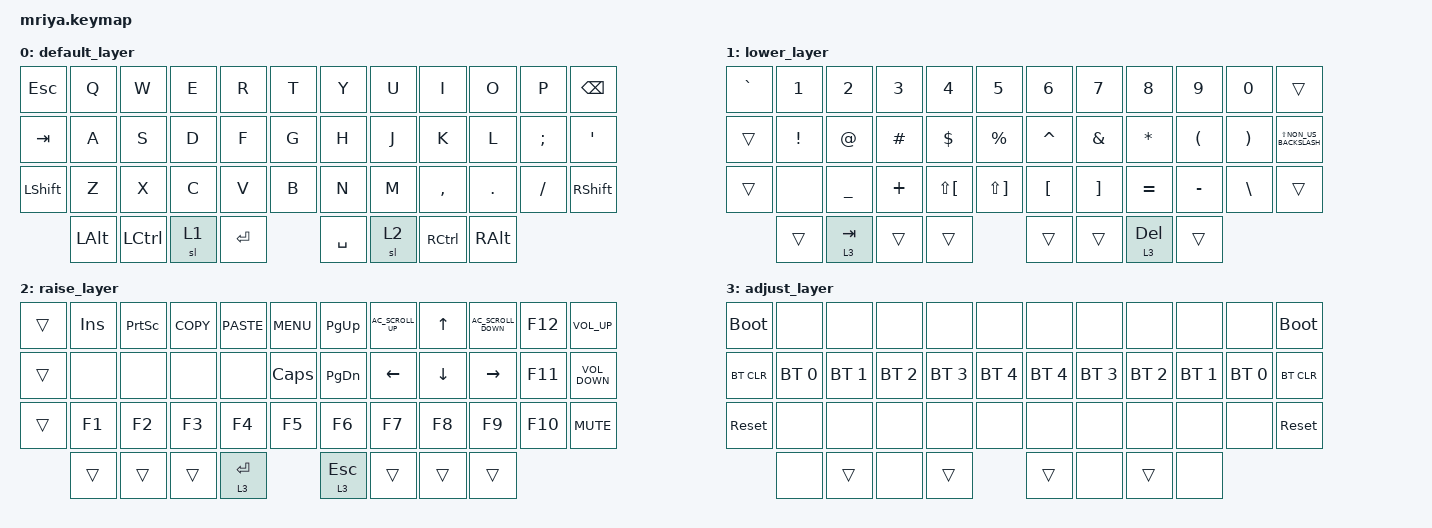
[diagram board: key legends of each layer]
/*
 * Copyright (c) 2023 Andrei Gaevskii
 *
 * SPDX-License-Identifier: MIT
 */

#include <behaviors.dtsi>
#include <dt-bindings/zmk/bt.h>
#include <dt-bindings/zmk/keys.h>

#define DEF 0
#define LWR 1
#define RSE 2
#define ADJ 3

&lt {
    quick_tap_ms = <200>;
};

&mt {
    quick_tap_ms = <200>;
};

/ {
    keymap {
        compatible = "zmk,keymap";

        default_layer {
            bindings = <
     &kp ESC  &kp Q         &kp W             &kp E  &kp R    &kp T        &kp Y  &kp U      &kp I          &kp O     &kp P        &kp BSPC
     &kp TAB  &kp A         &kp S             &kp D  &kp F    &kp G        &kp H  &kp J      &kp K          &kp L  &kp SEMI  &kp APOSTROPHE
  &kp LSHIFT  &kp Z         &kp X             &kp C  &kp V    &kp B        &kp N  &kp M  &kp COMMA        &kp DOT  &kp FSLH      &kp RSHIFT
                     &kp LEFT_ALT  &kp LEFT_CONTROL  &sl 1  &kp RET    &kp SPACE  &sl 2  &kp RCTRL  &kp RIGHT_ALT
            >;
        };

        lower_layer {
            bindings = <
  &kp GRAVE    &kp N1          &kp N2     &kp N3                &kp N4                 &kp N5        &kp NUMBER_6             &kp N7     &kp N8     &kp N9         &kp N0                    &trans
     &trans  &kp EXCL          &kp AT   &kp HASH              &kp DLLR              &kp PRCNT           &kp CARET           &kp AMPS   &kp STAR   &kp LPAR       &kp RPAR  &kp LS(NON_US_BACKSLASH)
     &trans     &none  &kp UNDERSCORE   &kp PLUS  &kp LS(LEFT_BRACKET)  &kp LS(RIGHT_BRACKET)    &kp LEFT_BRACKET  &kp RIGHT_BRACKET  &kp EQUAL  &kp MINUS  &kp BACKSLASH                    &trans
                               &trans  &lt 3 TAB                &trans                 &trans              &trans             &trans  &lt 3 DEL     &trans
            >;
        };

        raise_layer {
            bindings = <
  &trans  &kp INSERT  &kp PRINTSCREEN  &kp K_COPY  &kp K_PASTE  &kp C_MENU      &kp PAGE_UP  &kp C_AC_SCROLL_UP  &kp UP_ARROW  &kp C_AC_SCROLL_DOWN  &kp F12    &kp C_VOLUME_UP
  &trans       &none            &none       &none        &none    &kp CAPS    &kp PAGE_DOWN            &kp LEFT      &kp DOWN             &kp RIGHT  &kp F11  &kp C_VOLUME_DOWN
  &trans      &kp F1           &kp F2      &kp F3       &kp F4      &kp F5           &kp F6              &kp F7        &kp F8                &kp F9  &kp F10         &kp C_MUTE
                               &trans      &trans       &trans   &lt 3 RET        &lt 3 ESC              &trans        &trans                &trans
            >;
        };

        adjust_layer {
            bindings = <
  &bootloader         &none         &none         &none         &none         &none           &none         &none         &none         &none         &none  &bootloader
   &bt BT_CLR  &bt BT_SEL 0  &bt BT_SEL 1  &bt BT_SEL 2  &bt BT_SEL 3  &bt BT_SEL 4    &bt BT_SEL 4  &bt BT_SEL 3  &bt BT_SEL 2  &bt BT_SEL 1  &bt BT_SEL 0   &bt BT_CLR
   &sys_reset         &none         &none         &none         &none         &none           &none         &none         &none         &none         &none   &sys_reset
                                    &none        &trans         &none        &trans          &trans         &none        &trans         &none
            >;
        };
    };
};
